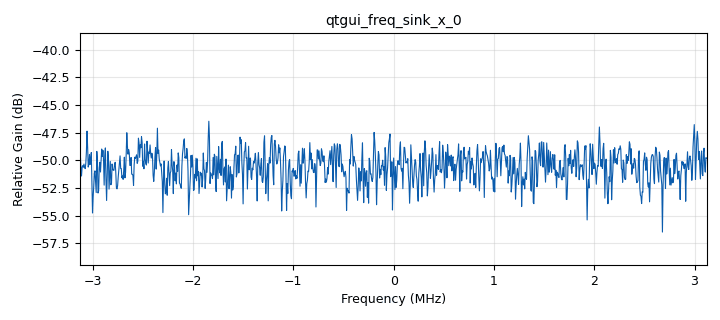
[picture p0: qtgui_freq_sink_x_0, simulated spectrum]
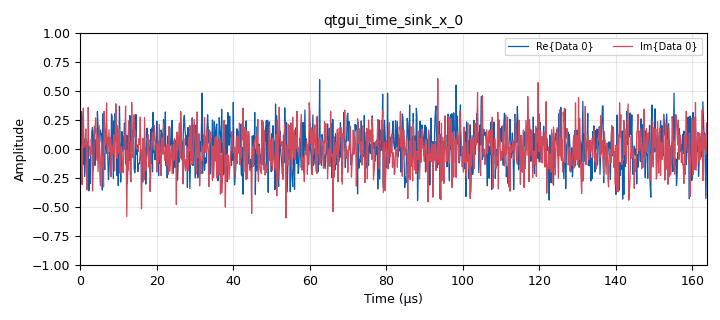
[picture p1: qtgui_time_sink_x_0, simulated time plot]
options:
  parameters:
    author: ' Anderson e Ivan'
    generate_options: qt_gui
    id: Practica1_LabComu2_GXYZ
    output_language: python
    title: Practica_1
  states: {}

blocks:
- name: GTX
  id: variable_qtgui_range
  parameters:
    label: Ganancia TX
    start: '0'
    step: '1'
    stop: '100'
    value: '50'
  states: {}
- name: 'NO'
  id: variable_qtgui_range
  parameters:
    label: Amplitud Ruido
    start: '0.000001'
    step: '0.000001'
    stop: '0.5'
    value: '0.250'
  states: {}
- name: fc
  id: variable_qtgui_range
  parameters:
    label: Fracuencia portadora
    start: '50000000'
    step: '1000000'
    stop: '2200000000'
    value: '100000000'
  states: {}
- name: samp_rate
  id: variable
  parameters:
    value: 12500000/2
  states: {}
- name: analog_noise_source_x_0
  id: analog_noise_source_x
  parameters:
    amp: 'NO'
    noise_type: analog.GR_GAUSSIAN
    seed: '0'
    type: complex
  states: {}
- name: blocks_throttle_0
  id: blocks_throttle
  parameters:
    samples_per_second: samp_rate
    type: complex
  states: {}
- name: qtgui_freq_sink_x_0
  id: qtgui_freq_sink_x
  parameters:
    autoscale: 'True'
    average: '0.05'
    bw: samp_rate
    fc: '0'
    fftsize: '1024'
    type: complex
  states: {}
- name: qtgui_time_sink_x_0
  id: qtgui_time_sink_x
  parameters:
    size: '1024'
    srate: samp_rate
    type: complex
  states: {}
- name: uhd_usrp_sink_0
  id: uhd_usrp_sink
  parameters:
    ant0: '"TX/RX"'
    center_freq0: fc
    gain0: '0'
    samp_rate: samp_rate
    sync: pc_clock
    type: fc32
  states: {}

connections:
- [analog_noise_source_x_0, '0', blocks_throttle_0, '0']
- [blocks_throttle_0, '0', qtgui_freq_sink_x_0, '0']
- [blocks_throttle_0, '0', qtgui_time_sink_x_0, '0']
- [blocks_throttle_0, '0', uhd_usrp_sink_0, '0']

metadata:
  file_format: 1
